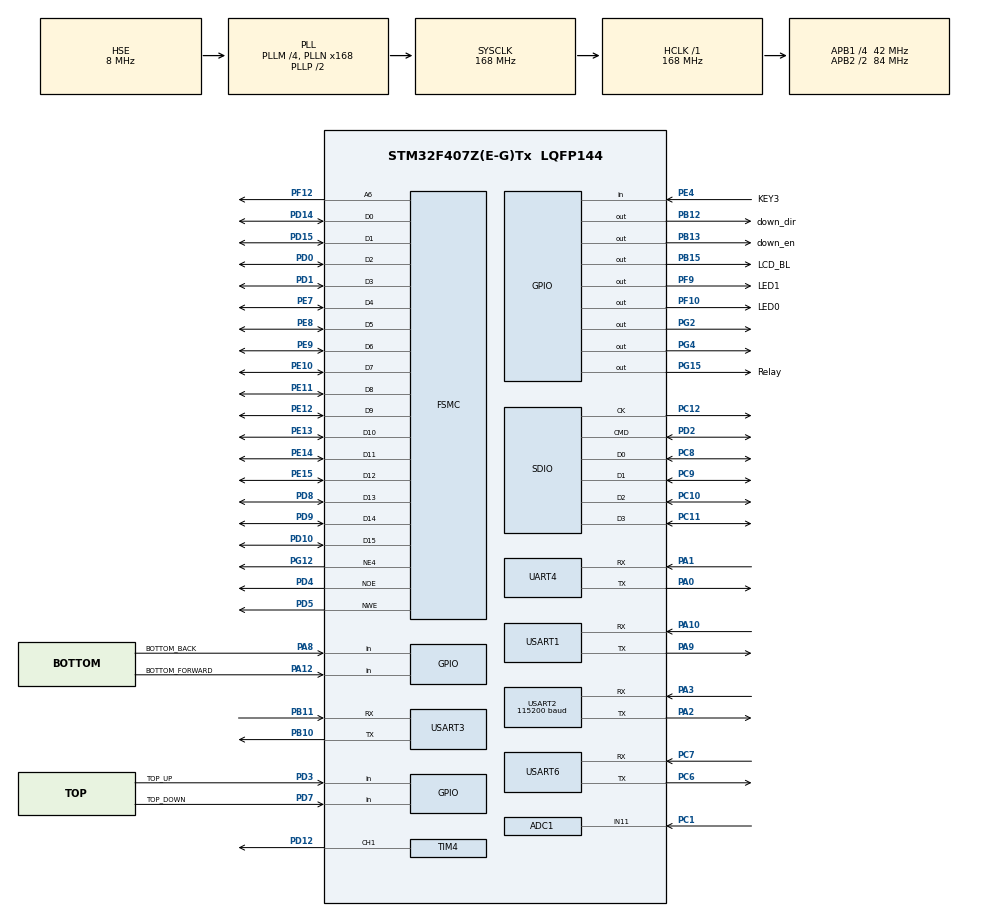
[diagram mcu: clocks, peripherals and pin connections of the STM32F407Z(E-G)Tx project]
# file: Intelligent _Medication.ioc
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ADC1.Channel-0\#ChannelRegularConversion=ADC_CHANNEL_11
ADC1.NbrOfConversionFlag=1
ADC1.Rank-0\#ChannelRegularConversion=1
ADC1.SamplingTime-0\#ChannelRegularConversion=ADC_SAMPLETIME_3CYCLES
ADC1.master=1
Dma.Request0=SDIO_RX
Dma.Request1=USART6_RX
Dma.Request2=USART3_RX
Dma.Request3=USART2_RX
Dma.Request4=UART4_RX
Dma.Request5=SDIO_TX
Dma.SDIO_RX.0.Direction=DMA_PERIPH_TO_MEMORY
Dma.SDIO_RX.0.FIFOMode=DMA_FIFOMODE_ENABLE
Dma.SDIO_RX.0.FIFOThreshold=DMA_FIFO_THRESHOLD_FULL
Dma.SDIO_RX.0.Instance=DMA2_Stream3
Dma.SDIO_RX.0.MemBurst=DMA_MBURST_INC4
Dma.SDIO_RX.0.MemDataAlignment=DMA_MDATAALIGN_WORD
Dma.SDIO_RX.0.MemInc=DMA_MINC_ENABLE
Dma.SDIO_RX.0.Mode=DMA_PFCTRL
Dma.SDIO_RX.0.PeriphBurst=DMA_PBURST_INC4
Dma.SDIO_RX.0.PeriphDataAlignment=DMA_PDATAALIGN_WORD
Dma.SDIO_RX.0.PeriphInc=DMA_PINC_DISABLE
Dma.SDIO_RX.0.Priority=DMA_PRIORITY_LOW
Dma.SDIO_TX.5.Direction=DMA_MEMORY_TO_PERIPH
Dma.SDIO_TX.5.FIFOMode=DMA_FIFOMODE_ENABLE
Dma.SDIO_TX.5.FIFOThreshold=DMA_FIFO_THRESHOLD_FULL
Dma.SDIO_TX.5.Instance=DMA2_Stream6
Dma.SDIO_TX.5.MemBurst=DMA_MBURST_INC4
Dma.SDIO_TX.5.MemDataAlignment=DMA_MDATAALIGN_WORD
Dma.SDIO_TX.5.MemInc=DMA_MINC_ENABLE
Dma.SDIO_TX.5.Mode=DMA_PFCTRL
Dma.SDIO_TX.5.PeriphBurst=DMA_PBURST_INC4
Dma.SDIO_TX.5.PeriphDataAlignment=DMA_PDATAALIGN_WORD
Dma.SDIO_TX.5.PeriphInc=DMA_PINC_DISABLE
Dma.SDIO_TX.5.Priority=DMA_PRIORITY_LOW
Dma.UART4_RX.4.Direction=DMA_PERIPH_TO_MEMORY
Dma.UART4_RX.4.FIFOMode=DMA_FIFOMODE_DISABLE
Dma.UART4_RX.4.Instance=DMA1_Stream2
Dma.UART4_RX.4.MemDataAlignment=DMA_MDATAALIGN_BYTE
Dma.UART4_RX.4.MemInc=DMA_MINC_ENABLE
Dma.UART4_RX.4.Mode=DMA_NORMAL
Dma.UART4_RX.4.PeriphDataAlignment=DMA_PDATAALIGN_BYTE
Dma.UART4_RX.4.PeriphInc=DMA_PINC_DISABLE
Dma.UART4_RX.4.Priority=DMA_PRIORITY_LOW
Dma.USART2_RX.3.Direction=DMA_PERIPH_TO_MEMORY
Dma.USART2_RX.3.FIFOMode=DMA_FIFOMODE_DISABLE
Dma.USART2_RX.3.Instance=DMA1_Stream5
Dma.USART2_RX.3.MemDataAlignment=DMA_MDATAALIGN_BYTE
Dma.USART2_RX.3.MemInc=DMA_MINC_ENABLE
Dma.USART2_RX.3.Mode=DMA_NORMAL
Dma.USART2_RX.3.PeriphDataAlignment=DMA_PDATAALIGN_BYTE
Dma.USART2_RX.3.PeriphInc=DMA_PINC_DISABLE
Dma.USART2_RX.3.Priority=DMA_PRIORITY_HIGH
Dma.USART3_RX.2.Direction=DMA_PERIPH_TO_MEMORY
Dma.USART3_RX.2.FIFOMode=DMA_FIFOMODE_DISABLE
Dma.USART3_RX.2.Instance=DMA1_Stream1
Dma.USART3_RX.2.MemDataAlignment=DMA_MDATAALIGN_BYTE
Dma.USART3_RX.2.MemInc=DMA_MINC_ENABLE
Dma.USART3_RX.2.Mode=DMA_NORMAL
Dma.USART3_RX.2.PeriphDataAlignment=DMA_PDATAALIGN_BYTE
Dma.USART3_RX.2.PeriphInc=DMA_PINC_DISABLE
Dma.USART3_RX.2.Priority=DMA_PRIORITY_MEDIUM
Dma.USART6_RX.1.Direction=DMA_PERIPH_TO_MEMORY
Dma.USART6_RX.1.FIFOMode=DMA_FIFOMODE_DISABLE
Dma.USART6_RX.1.Instance=DMA2_Stream1
Dma.USART6_RX.1.MemDataAlignment=DMA_MDATAALIGN_BYTE
Dma.USART6_RX.1.MemInc=DMA_MINC_ENABLE
Dma.USART6_RX.1.Mode=DMA_NORMAL
Dma.USART6_RX.1.PeriphDataAlignment=DMA_PDATAALIGN_BYTE
Dma.USART6_RX.1.PeriphInc=DMA_PINC_DISABLE
Dma.USART6_RX.1.Priority=DMA_PRIORITY_LOW
FATFS._CODE_PAGE=850
FATFS._USE_LFN=0
FATFS._USE_MUTEX=0
FREERTOS.HEAP_NUMBER=4
FREERTOS.INCLUDE_eTaskGetState=1
FREERTOS.INCLUDE_pcTaskGetTaskName=0
FREERTOS.INCLUDE_uxTaskGetStackHighWaterMark=1
FREERTOS.INCLUDE_uxTaskGetStackHighWaterMark2=0
FREERTOS.INCLUDE_uxTaskPriorityGet=1
FREERTOS.INCLUDE_vTaskCleanUpResources=0
FREERTOS.INCLUDE_vTaskDelay=1
FREERTOS.INCLUDE_vTaskDelayUntil=1
FREERTOS.INCLUDE_vTaskDelete=1
FREERTOS.INCLUDE_vTaskPrioritySet=1
FREERTOS.INCLUDE_vTaskSuspend=1
FREERTOS.INCLUDE_xEventGroupSetBitFromISR=0
FREERTOS.INCLUDE_xQueueGetMutexHolder=1
FREERTOS.INCLUDE_xSemaphoreGetMutexHolder=0
FREERTOS.INCLUDE_xTaskAbortDelay=0
FREERTOS.INCLUDE_xTaskGetCurrentTaskHandle=1
FREERTOS.INCLUDE_xTaskGetHandle=0
FREERTOS.INCLUDE_xTaskGetSchedulerState=1
FREERTOS.INCLUDE_xTaskResumeFromISR=1
FREERTOS.INCLUDE_xTimerPendFunctionCall=1
FREERTOS.Tasks01=defaultTask,8,128,StartDefaultTask,Default,NULL,Dynamic,NULL,NULL
FREERTOS.configCHECK_FOR_STACK_OVERFLOW=0
FREERTOS.configENABLE_BACKWARD_COMPATIBILITY=1
FREERTOS.configENABLE_FPU=0
FREERTOS.configGENERATE_RUN_TIME_STATS=0
FREERTOS.configIDLE_SHOULD_YIELD=1
FREERTOS.configLIBRARY_LOWEST_INTERRUPT_PRIORITY=15
FREERTOS.configLIBRARY_MAX_SYSCALL_INTERRUPT_PRIORITY=5
FREERTOS.configMAX_CO_ROUTINE_PRIORITIES=2
FREERTOS.configMAX_TASK_NAME_LEN=16
FREERTOS.configMINIMAL_STACK_SIZE=128
FREERTOS.configQUEUE_REGISTRY_SIZE=8
FREERTOS.configRECORD_STACK_HIGH_ADDRESS=0
FREERTOS.configTICK_RATE_HZ=1000
FREERTOS.configTIMER_QUEUE_LENGTH=10
FREERTOS.configTIMER_TASK_PRIORITY=2
FREERTOS.configTIMER_TASK_STACK_DEPTH=256
FREERTOS.configTOTAL_HEAP_SIZE=15360
FREERTOS.configUSE_APPLICATION_TASK_TAG=0
FREERTOS.configUSE_COUNTING_SEMAPHORES=1
FREERTOS.configUSE_CO_ROUTINES=0
FREERTOS.configUSE_DAEMON_TASK_STARTUP_HOOK=0
FREERTOS.configUSE_IDLE_HOOK=0
FREERTOS.configUSE_MALLOC_FAILED_HOOK=0
FREERTOS.configUSE_MUTEXES=1
FREERTOS.configUSE_NEWLIB_REENTRANT=0
FREERTOS.configUSE_OS2_EVENTFLAGS_FROM_ISR=1
FREERTOS.configUSE_OS2_MUTEX=1
FREERTOS.configUSE_OS2_THREAD_ENUMERATE=1
FREERTOS.configUSE_OS2_THREAD_FLAGS=1
FREERTOS.configUSE_OS2_THREAD_SUSPEND_RESUME=1
FREERTOS.configUSE_OS2_TIMER=1
FREERTOS.configUSE_POSIX_ERRNO=0
FREERTOS.configUSE_PREEMPTION=1
FREERTOS.configUSE_RECURSIVE_MUTEXES=1
FREERTOS.configUSE_STATS_FORMATTING_FUNCTIONS=0
FREERTOS.configUSE_TASK_NOTIFICATIONS=1
FREERTOS.configUSE_TICKLESS_IDLE=0
FREERTOS.configUSE_TICK_HOOK=1
FREERTOS.configUSE_TRACE_FACILITY=1
FREERTOS.copyHeapFile=1
FSMC.AccessMode1=FSMC_ACCESS_MODE_A
FSMC.AddressSetupTime1=10
FSMC.BusTurnAroundDuration1=0
FSMC.DataSetupTime1=60
FSMC.ExtendedAccessMode1=FSMC_ACCESS_MODE_A
FSMC.ExtendedAddressSetupTime1=10
FSMC.ExtendedBusTurnAroundDuration1=0
FSMC.ExtendedDataSetupTime1=15
FSMC.ExtendedMode1=FSMC_EXTENDED_MODE_ENABLE
FSMC.NSBank1=FSMC_NORSRAM_BANK4
FSMC.WriteOperation1=FSMC_WRITE_OPERATION_ENABLE
Mcu.Family=STM32F4
Mcu.Name=STM32F407Z(E-G)Tx
Mcu.Package=LQFP144
NVIC.DMA1_Stream1_IRQn=true\:7\:0\:true\:false\:true\:true\:false\:true\:true
NVIC.DMA1_Stream2_IRQn=true\:6\:0\:true\:false\:true\:true\:false\:true\:true
NVIC.DMA1_Stream5_IRQn=true\:5\:0\:false\:false\:true\:true\:false\:true\:true
NVIC.DMA2_Stream1_IRQn=true\:5\:0\:false\:false\:true\:true\:false\:true\:true
NVIC.DMA2_Stream3_IRQn=true\:8\:0\:true\:false\:true\:true\:false\:true\:true
NVIC.DMA2_Stream6_IRQn=true\:5\:0\:false\:false\:true\:true\:false\:true\:true
NVIC.PriorityGroup=NVIC_PRIORITYGROUP_4
NVIC.SDIO_IRQn=true\:6\:0\:true\:false\:true\:true\:true\:true\:true
NVIC.TIM4_IRQn=true\:5\:0\:false\:false\:true\:true\:true\:true\:true
NVIC.TIM6_DAC_IRQn=true\:15\:0\:false\:false\:true\:false\:true\:true\:true
NVIC.TimeBase=TIM6_DAC_IRQn
NVIC.TimeBaseIP=TIM6
NVIC.UART4_IRQn=true\:9\:0\:true\:false\:true\:true\:true\:true\:true
NVIC.USART2_IRQn=true\:7\:0\:true\:false\:true\:true\:true\:true\:true
NVIC.USART3_IRQn=true\:5\:0\:false\:false\:true\:true\:true\:true\:true
NVIC.USART6_IRQn=true\:9\:0\:true\:false\:true\:true\:true\:true\:true
PA0-WKUP.Mode=Asynchronous
PA0-WKUP.Signal=UART4_TX
PA1.Mode=Asynchronous
PA1.Signal=UART4_RX
PA10.Mode=Asynchronous
PA10.Signal=USART1_RX
PA12.GPIO_Label=BOTTOM_FORWARD
PA12.GPIO_PuPd=GPIO_PULLUP
PA12.Signal=GPIO_Input
PA13.Mode=Serial_Wire
PA13.Signal=SYS_JTMS-SWDIO
PA14.Mode=Serial_Wire
PA14.Signal=SYS_JTCK-SWCLK
PA2.Mode=Asynchronous
PA2.Signal=USART2_TX
PA3.Mode=Asynchronous
PA3.Signal=USART2_RX
PA8.GPIO_Label=BOTTOM_BACK
PA8.GPIO_PuPd=GPIO_PULLUP
PA8.Signal=GPIO_Input
PA9.Mode=Asynchronous
PA9.Signal=USART1_TX
PB10.Mode=Asynchronous
PB10.Signal=USART3_TX
PB11.Mode=Asynchronous
PB11.Signal=USART3_RX
PB12.GPIO_Label=down_dir
PB12.GPIO_Speed=GPIO_SPEED_FREQ_HIGH
PB12.Signal=GPIO_Output
PB13.GPIO_Label=down_en
PB13.GPIO_Speed=GPIO_SPEED_FREQ_HIGH
PB13.PinState=GPIO_PIN_RESET
PB13.Signal=GPIO_Output
PB15.GPIO_Label=LCD_BL
PB15.GPIO_Speed=GPIO_SPEED_FREQ_VERY_HIGH
PB15.PinState=GPIO_PIN_SET
PB15.Signal=GPIO_Output
PC1.Signal=ADCx_IN11
PC10.Mode=SD_4_bits_Wide_bus
PC10.Signal=SDIO_D2
PC11.Mode=SD_4_bits_Wide_bus
PC11.Signal=SDIO_D3
PC12.Mode=SD_4_bits_Wide_bus
PC12.Signal=SDIO_CK
PC14-OSC32_IN.Mode=LSE-External-Oscillator
PC14-OSC32_IN.Signal=RCC_OSC32_IN
PC15-OSC32_OUT.Mode=LSE-External-Oscillator
PC15-OSC32_OUT.Signal=RCC_OSC32_OUT
PC6.Mode=Asynchronous
PC6.Signal=USART6_TX
PC7.Mode=Asynchronous
PC7.Signal=USART6_RX
PC8.Mode=SD_4_bits_Wide_bus
PC8.Signal=SDIO_D0
PC9.Mode=SD_4_bits_Wide_bus
PC9.Signal=SDIO_D1
PD0.Signal=FSMC_D2_DA2
PD1.Signal=FSMC_D3_DA3
PD10.Signal=FSMC_D15_DA15
PD12.Signal=S_TIM4_CH1
PD14.Signal=FSMC_D0_DA0
PD15.Signal=FSMC_D1_DA1
PD2.Mode=SD_4_bits_Wide_bus
PD2.Signal=SDIO_CMD
PD3.GPIO_Label=TOP_UP
PD3.GPIO_PuPd=GPIO_PULLUP
PD3.Signal=GPIO_Input
PD4.Signal=FSMC_NOE
PD5.Signal=FSMC_NWE
PD7.GPIO_Label=TOP_DOWN
PD7.GPIO_PuPd=GPIO_PULLUP
PD7.Signal=GPIO_Input
PD8.Signal=FSMC_D13_DA13
PD9.Signal=FSMC_D14_DA14
PE10.Signal=FSMC_D7_DA7
PE11.Signal=FSMC_D8_DA8
PE12.Signal=FSMC_D9_DA9
PE13.Signal=FSMC_D10_DA10
PE14.Signal=FSMC_D11_DA11
PE15.Signal=FSMC_D12_DA12
PE4.GPIO_Label=KEY3
PE4.GPIO_PuPd=GPIO_PULLUP
PE4.Signal=GPIO_Input
PE7.Signal=FSMC_D4_DA4
PE8.Signal=FSMC_D5_DA5
PE9.Signal=FSMC_D6_DA6
PF10.GPIO_Label=LED0
PF10.GPIO_Speed=GPIO_SPEED_FREQ_HIGH
PF10.PinState=GPIO_PIN_SET
PF10.Signal=GPIO_Output
PF12.Signal=FSMC_A6
PF9.GPIO_Label=LED1
PF9.GPIO_Speed=GPIO_SPEED_FREQ_HIGH
PF9.PinState=GPIO_PIN_SET
PF9.Signal=GPIO_Output
PG12.Mode=NorPsramChipSelect4_1
PG12.Signal=FSMC_NE4
PG15.GPIO_Label=Relay
PG15.Signal=GPIO_Output
PG2.GPIO_Speed=GPIO_SPEED_FREQ_HIGH
PG2.PinState=GPIO_PIN_SET
PG2.Signal=GPIO_Output
PG4.GPIO_Speed=GPIO_SPEED_FREQ_HIGH
PG4.PinState=GPIO_PIN_SET
PG4.Signal=GPIO_Output
PH0-OSC_IN.Mode=HSE-External-Oscillator
PH0-OSC_IN.Signal=RCC_OSC_IN
PH1-OSC_OUT.Mode=HSE-External-Oscillator
PH1-OSC_OUT.Signal=RCC_OSC_OUT
ProjectManager.HeapSize=0x800
ProjectManager.StackSize=0x2200
ProjectManager.TargetToolchain=MDK-ARM V5.32
RCC.48MHZClocksFreq_Value=48000000
RCC.AHBFreq_Value=168000000
RCC.APB1CLKDivider=RCC_HCLK_DIV4
RCC.APB1Freq_Value=42000000
RCC.APB1TimFreq_Value=84000000
RCC.APB2CLKDivider=RCC_HCLK_DIV2
RCC.APB2Freq_Value=84000000
RCC.APB2TimFreq_Value=168000000
RCC.CortexFreq_Value=168000000
RCC.FLatency=FLASH_LATENCY_5
RCC.HCLKFreq_Value=168000000
RCC.HSE_VALUE=8000000
RCC.HSI_VALUE=16000000
RCC.PLLM=4
RCC.PLLN=168
RCC.PLLQ=7
RCC.PLLSourceVirtual=RCC_PLLSOURCE_HSE
RCC.RCC_RTC_Clock_Source=RCC_RTCCLKSOURCE_LSE
RCC.RCC_RTC_Clock_SourceVirtual=RCC_RTCCLKSOURCE_LSE
RCC.SYSCLKFreq_VALUE=168000000
RCC.SYSCLKSource=RCC_SYSCLKSOURCE_PLLCLK
RCC.VCOOutputFreq_Value=336000000
RTC.AsynchPrediv=127
RTC.Date=3
RTC.DayLightSaving=RTC_DAYLIGHTSAVING_NONE
RTC.Format=RTC_FORMAT_BIN
RTC.HourFormat=RTC_HOURFORMAT_24
RTC.Hours=18
RTC.Minutes=20
RTC.Month=RTC_MONTH_MARCH
RTC.Seconds=0
RTC.StoreOperation=RTC_STOREOPERATION_RESET
RTC.SynchPrediv=255
RTC.WeekDay=RTC_WEEKDAY_MONDAY
RTC.Year=25
SDIO.ClockDiv=4
SH.ADCx_IN11.0=ADC1_IN11,IN11
SH.FSMC_A6.0=FSMC_A6,A6_1
SH.FSMC_D0_DA0.0=FSMC_D0,16b-d1
SH.FSMC_D10_DA10.0=FSMC_D10,16b-d1
SH.FSMC_D11_DA11.0=FSMC_D11,16b-d1
SH.FSMC_D12_DA12.0=FSMC_D12,16b-d1
SH.FSMC_D13_DA13.0=FSMC_D13,16b-d1
SH.FSMC_D14_DA14.0=FSMC_D14,16b-d1
SH.FSMC_D15_DA15.0=FSMC_D15,16b-d1
SH.FSMC_D1_DA1.0=FSMC_D1,16b-d1
SH.FSMC_D2_DA2.0=FSMC_D2,16b-d1
SH.FSMC_D3_DA3.0=FSMC_D3,16b-d1
SH.FSMC_D4_DA4.0=FSMC_D4,16b-d1
SH.FSMC_D5_DA5.0=FSMC_D5,16b-d1
SH.FSMC_D6_DA6.0=FSMC_D6,16b-d1
SH.FSMC_D7_DA7.0=FSMC_D7,16b-d1
SH.FSMC_D8_DA8.0=FSMC_D8,16b-d1
SH.FSMC_D9_DA9.0=FSMC_D9,16b-d1
SH.FSMC_NOE.0=FSMC_NOE,Lcd1
SH.FSMC_NWE.0=FSMC_NWE,Lcd1
SH.S_TIM4_CH1.0=TIM4_CH1,PWM Generation1 CH1
TIM4.Channel-PWM\ Generation1\ CH1=TIM_CHANNEL_1
TIM4.Period=1000-1
TIM4.Prescaler=84-1
TIM4.Pulse-PWM\ Generation1\ CH1=500
UART4.VirtualMode=Asynchronous
USART1.VirtualMode=VM_ASYNC
USART2.BaudRate=115200
USART2.Mode=MODE_TX_RX
USART2.OverSampling=UART_OVERSAMPLING_16
USART2.Parity=PARITY_NONE
USART2.StopBits=STOPBITS_1
USART2.VirtualMode=VM_ASYNC
USART2.WordLength=WORDLENGTH_8B
USART3.VirtualMode=VM_ASYNC
USART6.VirtualMode=VM_ASYNC
VP_FATFS_VS_SDIO.Mode=SDIO
VP_FREERTOS_VS_CMSIS_V2.Mode=CMSIS_V2
VP_RTC_VS_RTC_Activate.Mode=RTC_Enabled
VP_RTC_VS_RTC_Calendar.Mode=RTC_Calendar
VP_SYS_VS_tim6.Mode=TIM6
VP_TIM4_VS_ClockSourceINT.Mode=Internal
board=custom

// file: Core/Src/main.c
/* USER CODE BEGIN Header */
/**
 ******************************************************************************
 * @file           : main.c
 * @brief          : Main program body
 ******************************************************************************
 * @attention
 *
 * Copyright (c) 2025 STMicroelectronics.
 * All rights reserved.
 *
 * This software is licensed under terms that can be found in the LICENSE file
 * in the root directory of this software component.
 * If no LICENSE file comes with this software, it is provided AS-IS.
 *
 ******************************************************************************
 */
/* USER CODE END Header */
#include "main.h"
#include "cmsis_os.h"
#include "adc.h"
#include "dma.h"
#include "fatfs.h"
#include "rtc.h"
#include "sdio.h"
#include "tim.h"
#include "usart.h"
#include "gpio.h"
#include "fsmc.h"

/* USER CODE BEGIN Includes */
#include "bsp_system.h"
/* USER CODE END Includes */

/* USER CODE BEGIN PV */
FATFS my_fs;
FRESULT res;
uint8_t temp,humi;
/* USER CODE END PV */

void SystemClock_Config(void);
void MX_FREERTOS_Init(void);

int main(void)
{

  /* MCU Configuration--------------------------------------------------------*/

  /* Reset of all peripherals, Initializes the Flash interface and the Systick. */
  HAL_Init();

  /* Configure the system clock */
  SystemClock_Config();

  /* Initialize all configured peripherals */
  MX_GPIO_Init();
  MX_DMA_Init();
  MX_FSMC_Init();
  MX_RTC_Init();
  MX_USART2_UART_Init();
  MX_UART4_Init();
  MX_USART1_UART_Init();
  MX_USART3_UART_Init();
  MX_SDIO_SD_Init();
  MX_USART6_UART_Init();
  MX_FATFS_Init();
  MX_TIM4_Init();
  MX_ADC1_Init();
  /* USER CODE BEGIN 2 */
  IIC_init();
	dht11_init();
	for (int i = 0; i < 3; i++)
	{
			user_messages[i].send_flag[0] = 0;
			user_messages[i].send_flag[1] = 0;
			user_messages[i].send_flag[2] = 0;
			for (int j = 0; j < 3; j++)
			{
					user_messages[i].Time[j][0] = 0;
					user_messages[i].Time[j][1] = 0;
					for (int k = 0; k < 6; k++)
					{
							user_messages[i].medicine[j][k] = 0;
					}
			}
	}

  motor_init();

	HAL_UARTEx_ReceiveToIdle_DMA(&huart3, (uint8_t *)esp8266_buf, 299);
	__HAL_DMA_DISABLE_IT(&hdma_usart3_rx, DMA_IT_HT);

	HAL_UARTEx_ReceiveToIdle_DMA(&huart2, uart_buffer_2, 49);
  __HAL_DMA_DISABLE_IT(&hdma_usart2_rx, DMA_IT_HT);

  HAL_UARTEx_ReceiveToIdle_DMA(&huart6, uart_buffer_6, 19);
  __HAL_DMA_DISABLE_IT(&hdma_usart6_rx, DMA_IT_HT);

	HAL_UARTEx_ReceiveToIdle_DMA(&huart4, uart_buffer_4, 10);
  __HAL_DMA_DISABLE_IT(&hdma_uart4_rx, DMA_IT_HT);

	HAL_TIM_Base_Start_IT(&htim4);
	HAL_TIM_PWM_Stop(&htim4,TIM_CHANNEL_1);
	HAL_GPIO_WritePin(down_en_GPIO_Port, down_en_Pin, GPIO_PIN_RESET);

  /* USER CODE END 2 */

  /* Init scheduler */
  osKernelInitialize();

  /* Call init function for freertos objects (in cmsis_os2.c) */
  MX_FREERTOS_Init();

  /* Start scheduler */
  osKernelStart();

  /* We should never get here as control is now taken by the scheduler */

  /* Infinite loop */
  while (1)
  {

  }
}

void SystemClock_Config(void)
{
  RCC_OscInitTypeDef RCC_OscInitStruct = {0};
  RCC_ClkInitTypeDef RCC_ClkInitStruct = {0};

  /** Configure the main internal regulator output voltage
  */
  __HAL_RCC_PWR_CLK_ENABLE();
  __HAL_PWR_VOLTAGESCALING_CONFIG(PWR_REGULATOR_VOLTAGE_SCALE1);

  /** Initializes the RCC Oscillators according to the specified parameters
  * in the RCC_OscInitTypeDef structure.
  */
  RCC_OscInitStruct.OscillatorType = RCC_OSCILLATORTYPE_HSE|RCC_OSCILLATORTYPE_LSE;
  RCC_OscInitStruct.HSEState = RCC_HSE_ON;
  RCC_OscInitStruct.LSEState = RCC_LSE_ON;
  RCC_OscInitStruct.PLL.PLLState = RCC_PLL_ON;
  RCC_OscInitStruct.PLL.PLLSource = RCC_PLLSOURCE_HSE;
  RCC_OscInitStruct.PLL.PLLM = 4;
  RCC_OscInitStruct.PLL.PLLN = 168;
  RCC_OscInitStruct.PLL.PLLP = RCC_PLLP_DIV2;
  RCC_OscInitStruct.PLL.PLLQ = 7;
  if (HAL_RCC_OscConfig(&RCC_OscInitStruct) != HAL_OK)
  {
    Error_Handler();
  }

  /** Initializes the CPU, AHB and APB buses clocks
  */
  RCC_ClkInitStruct.ClockType = RCC_CLOCKTYPE_HCLK|RCC_CLOCKTYPE_SYSCLK
                              |RCC_CLOCKTYPE_PCLK1|RCC_CLOCKTYPE_PCLK2;
  RCC_ClkInitStruct.SYSCLKSource = RCC_SYSCLKSOURCE_PLLCLK;
  RCC_ClkInitStruct.AHBCLKDivider = RCC_SYSCLK_DIV1;
  RCC_ClkInitStruct.APB1CLKDivider = RCC_HCLK_DIV4;
  RCC_ClkInitStruct.APB2CLKDivider = RCC_HCLK_DIV2;

  if (HAL_RCC_ClockConfig(&RCC_ClkInitStruct, FLASH_LATENCY_5) != HAL_OK)
  {
    Error_Handler();
  }
}

void HAL_TIM_PeriodElapsedCallback(TIM_HandleTypeDef *htim)
{
  if (htim->Instance == TIM6)
  {
    HAL_IncTick();
  }
  /* USER CODE BEGIN Callback 1 */
	if(htim == &htim4)
	{
		if(Pulse_count > 0)
			Pulse_count--;
		if(Pulse_count == 0)
			HAL_TIM_PWM_Stop(&htim4,TIM_CHANNEL_1);
	}
  /* USER CODE END Callback 1 */
}

void Error_Handler(void)
{
  __disable_irq();
  while (1)
  {
  }
}
